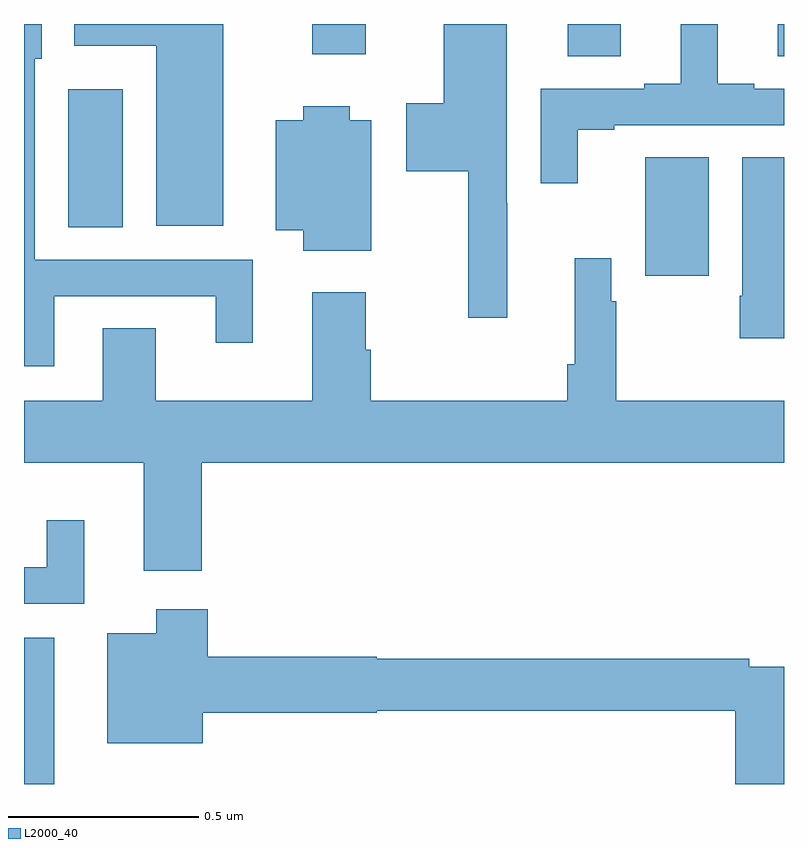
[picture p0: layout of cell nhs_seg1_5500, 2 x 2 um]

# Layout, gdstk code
import gdstk
lib = gdstk.Library(unit=1e-6, precision=1e-09)
def R(c, l, rs):  # rectangles x0, y0, x1, y1
    for r in rs: c.add(gdstk.rectangle(r[:2], r[2:], *l))
def P(c, l, *ps):  # polygons
    for p in ps: c.add(gdstk.Polygon(p, *l))
L2000_40 = (2000, 40)

nhs_seg1_5500 = lib.new_cell('nhs_seg1_5500')
R(nhs_seg1_5500, L2000_40, [(179,572.199,179.08,572.584), (180.635,573.537,180.802,573.848), (179.117,573.664,179.26,574.027), (180.431,574.114,180.571,574.199), (180.983,574.114,181,574.199), (179.759,574.119,179.899,574.199)])
P(nhs_seg1_5500, L2000_40, [(179.524,574.199),(179.132,574.199),(179.132,574.142),(179.348,574.142),(179.348,573.668),(179.524,573.668)],
  [(180.272,573.728),(180.27,573.728),(180.27,574.026),(180.271,574.026),(180.271,574.199),(180.104,574.199),(180.104,573.99),(180.006,573.99),(180.006,573.812),(180.169,573.812),(180.169,573.426),(180.272,573.426)],
  [(179.08,573.483),(179.504,573.483),(179.504,573.36),(179.602,573.36),(179.602,573.579),(179.028,573.579),(179.028,574.107),(179.047,574.107),(179.047,574.199),(179,574.199),(179,573.299),(179.08,573.299)],
  [(180.457,573.921),(180.553,573.921),(180.553,573.933),(181,573.933),(181,574.029),(180.922,574.029),(180.922,574.042),(180.826,574.042),(180.826,574.199),(180.728,574.199),(180.728,574.042),(180.632,574.042),(180.632,574.029),(180.36,574.029),(180.36,573.78),(180.457,573.78)],
  [(179.914,573.946),(179.857,573.946),(179.857,573.982),(179.735,573.982),(179.735,573.946),(179.663,573.946),(179.663,573.656),(179.735,573.656),(179.735,573.602),(179.914,573.602)],
  [(181,573.848),(180.89,573.848),(180.89,573.484),(180.883,573.484),(180.883,573.372),(181,573.372)],
  [(179.468,573.044),(181,573.044),(181,573.208),(180.559,573.208),(180.559,573.47),(180.546,573.47),(180.546,573.583),(180.449,573.583),(180.449,573.304),(180.43,573.304),(180.43,573.208),(179.912,573.208),(179.912,573.342),(179.899,573.342),(179.899,573.493),(179.759,573.493),(179.759,573.208),(179.347,573.208),(179.347,573.398),(179.207,573.398),(179.207,573.208),(179,573.208),(179,573.044),(179.315,573.044),(179.315,572.76),(179.468,572.76)],
  [(179.158,572.893),(179.06,572.893),(179.06,572.769),(179,572.769),(179,572.673),(179.158,572.673)],
  [(181,572.508),(180.908,572.508),(180.908,572.528),(179.928,572.528),(179.928,572.534),(179.483,572.534),(179.483,572.659),(179.348,572.659),(179.348,572.596),(179.219,572.596),(179.219,572.306),(179.47,572.306),(179.47,572.387),(179.928,572.387),(179.928,572.392),(180.872,572.392),(180.872,572.199),(181,572.199)])

lib.write_gds('nhs_seg1_5500.gds')
